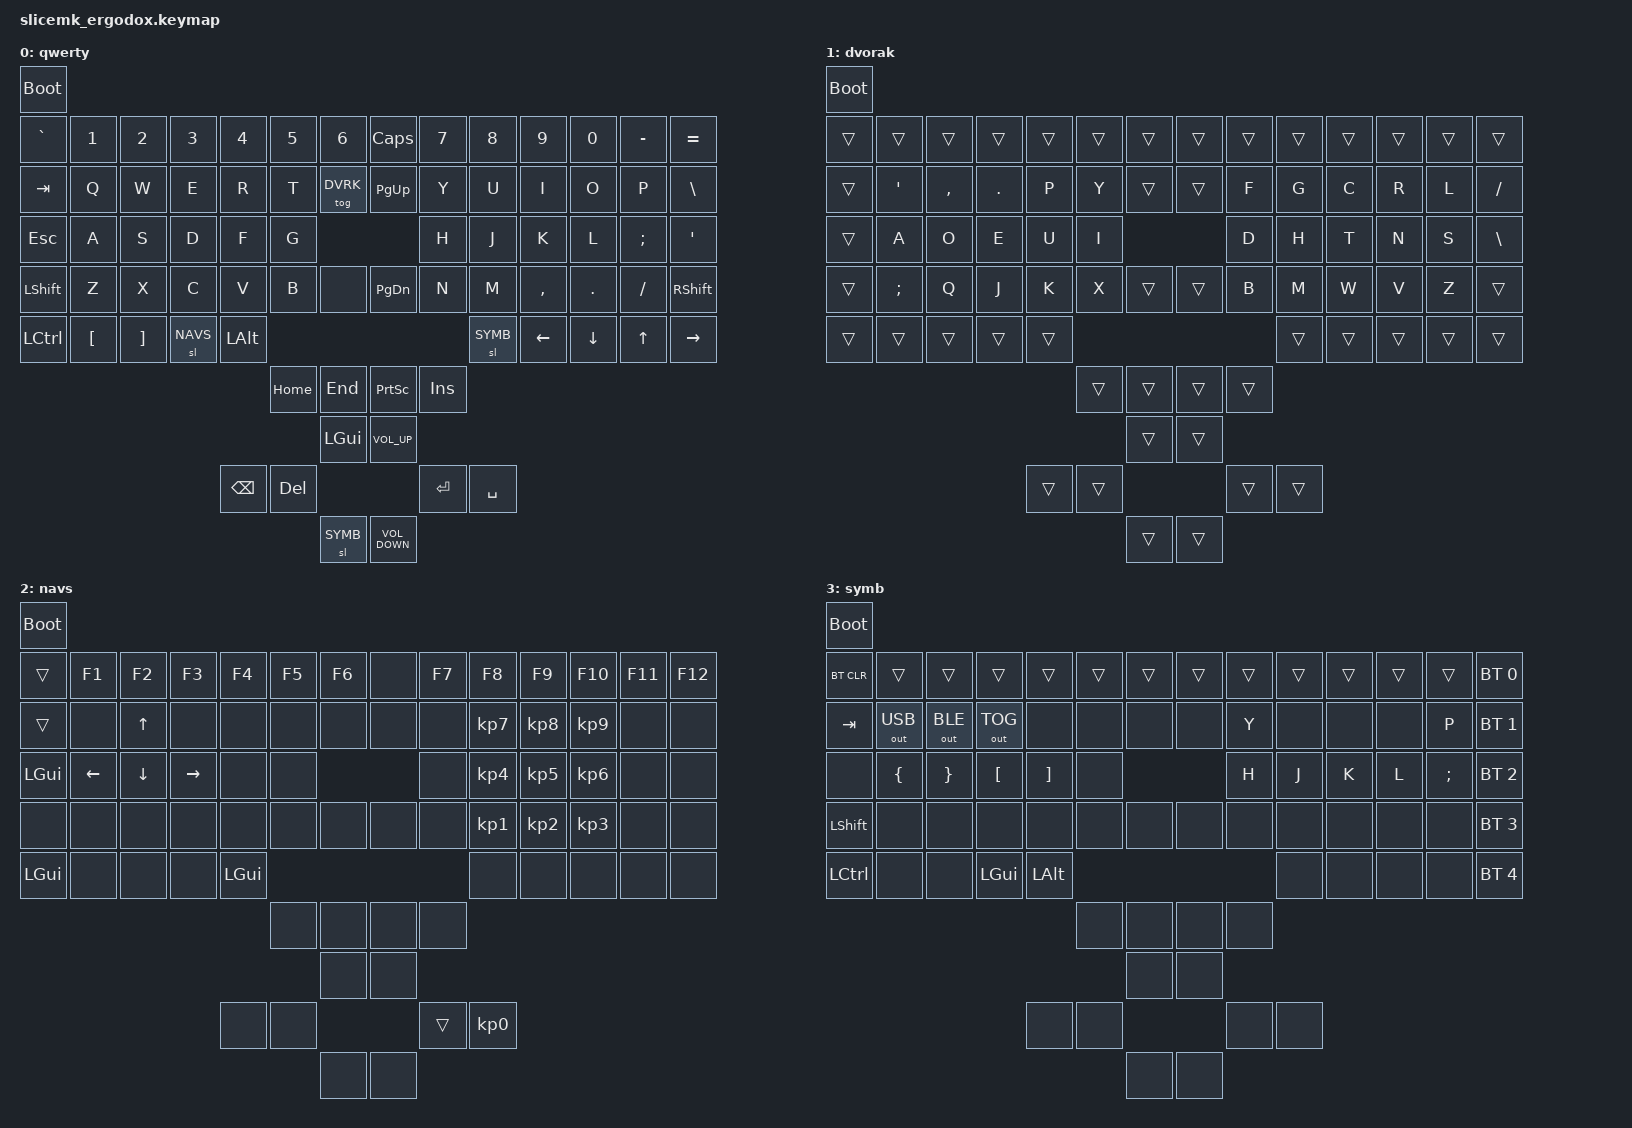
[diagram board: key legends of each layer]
#include <behaviors.dtsi>
#include <dt-bindings/zmk/bt.h>
#include <dt-bindings/zmk/keys.h>
#include <dt-bindings/zmk/outputs.h>


#define QWTY 0
#define DVRK 1
#define NAVS 2
#define SYMB 3

/ {
  keymap {
    compatible = "zmk,keymap";

    qwerty {
      bindings = <
    &bootloader
    &kp GRAV   &kp N1     &kp N2     &kp N3     &kp N4     &kp N5     &kp N6     &kp CAPS   &kp N7     &kp N8     &kp N9     &kp N0     &kp MINUS  &kp EQUAL
    &kp TAB    &kp Q      &kp W      &kp E      &kp R      &kp T      &tog DVRK  &kp PG_UP  &kp Y      &kp U      &kp I      &kp O      &kp P      &kp BSLH
    &kp ESC    &kp A      &kp S      &kp D      &kp F      &kp G                            &kp H      &kp J      &kp K      &kp L      &kp SEMI   &kp SQT 
    &kp LSHFT  &kp Z      &kp X      &kp C      &kp V      &kp B      &none      &kp PG_DN  &kp N      &kp M      &kp COMMA  &kp DOT    &kp FSLH   &kp RSHFT
    &kp LCTRL  &kp LBKT   &kp RBKT   &sl NAVS   &kp LALT                                               &sl SYMB   &kp LEFT   &kp DOWN   &kp UP     &kp RIGHT
                                                           &kp HOME   &kp END    &kp PSCRN  &kp INS 
                                                                      &kp LGUI   &kp C_VOLUME_UP 
                                                &kp BSPC   &kp DEL                          &kp RET   &kp SPC
                                                                      &sl SYMB   &kp C_VOLUME_DOWN 
      >;
    };

    dvorak {
      bindings = <
    &bootloader
    &trans     &trans     &trans     &trans     &trans     &trans     &trans     &trans     &trans     &trans     &trans     &trans     &trans     &trans
    &trans     &kp SQT    &kp COMMA  &kp DOT    &kp P      &kp Y      &trans     &trans     &kp F      &kp G      &kp C      &kp R      &kp L      &kp FSLH
    &trans     &kp A      &kp O      &kp E      &kp U      &kp I                            &kp D      &kp H      &kp T      &kp N      &kp S      &kp BSLH 
    &trans     &kp SEMI   &kp Q      &kp J      &kp K      &kp X      &trans     &trans     &kp B      &kp M      &kp W      &kp V      &kp Z      &trans
    &trans     &trans     &trans     &trans     &trans                                                 &trans     &trans     &trans     &trans     &trans
                                                           &trans     &trans     &trans     &trans
                                                                      &trans     &trans
                                                &trans      &trans                          &trans     &trans
                                                                      &trans     &trans
      >;
    };

    navs {
      bindings = <
    &bootloader
    &trans     &kp F1     &kp F2     &kp F3     &kp F4     &kp F5     &kp F6     &none      &kp F7     &kp F8     &kp F9     &kp F10    &kp F11    &kp F12 
    &trans     &none      &kp UP     &none      &none      &none      &none      &none      &none      &kp KP_N7  &kp KP_N8  &kp KP_N9  &none      &none
    &kp LGUI   &kp LEFT   &kp DOWN   &kp RIGHT  &none      &none                            &none      &kp KP_N4  &kp KP_N5  &kp KP_N6  &none      &none
    &none      &none      &none      &none      &none      &none      &none      &none      &none      &kp KP_N1  &kp KP_N2  &kp KP_N3  &none      &none
    &kp LGUI   &none      &none      &none      &kp LGUI                                               &none      &none      &none      &none      &none
                                                           &none      &none      &none      &none
                                                                      &none      &none
                                                &none      &none                            &trans     &kp KP_N0
                                                                      &none      &none
      >;
    };

    symb {
      bindings = <
    &bootloader
    &bt BT_CLR   &trans         &trans       &trans        &trans     &trans     &trans    &trans    &trans     &trans     &trans     &trans     &trans       &bt BT_SEL 0 
    &kp TAB      &out OUT_USB   &out OUT_BLE &out OUT_TOG  &none      &none      &none     &none     &kp Y      &none      &none      &none      &kp P        &bt BT_SEL 1
    &none        &kp LBRC       &kp RBRC     &kp LBKT      &kp RBKT   &none                          &kp H      &kp J      &kp K      &kp L      &kp SEMI     &bt BT_SEL 2
    &kp LSHFT    &none          &none        &none         &none      &none      &none     &none     &none      &none      &none      &none      &none        &bt BT_SEL 3
    &kp LCTRL    &none          &none        &kp LGUI      &kp LALT                                             &none      &none      &none      &none        &bt BT_SEL 4
                                                                      &none      &none     &none     &none
                                                                                 &none     &none
                                                           &none      &none                          &none      &none
                                                                                 &none     &none
      >;
    };

  };
};
